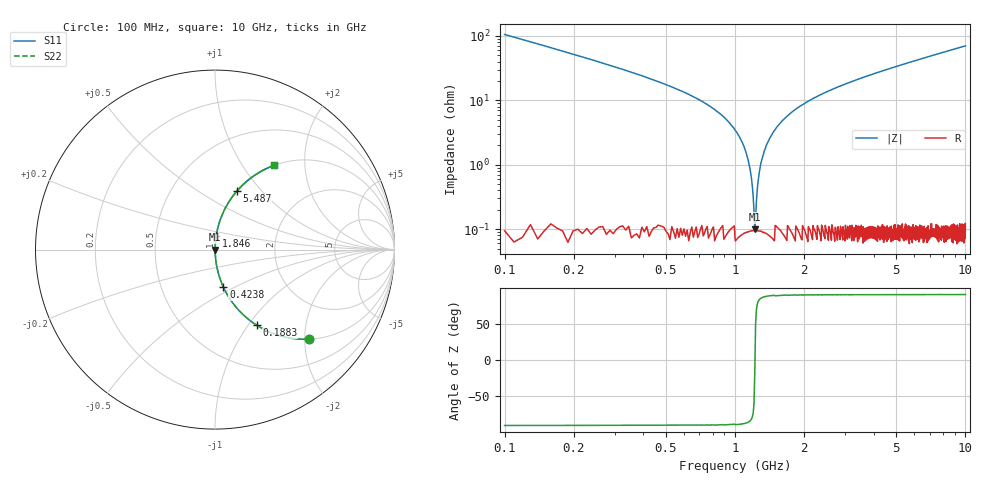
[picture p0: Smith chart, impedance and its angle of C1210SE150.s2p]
! AVX Thin Film Operation		Date: April 2012
! Description: Accu-P® Series, Thin Film, SMD, RF Capacitor
! Part Number: 12101J150FBTTR
!	100	MHz	-	10.05	GHz
!	Serial	Measurements
#	MHZ	S	MA	R	50
!	S11	S21	S12	S22
!	dB	Phase	dB	Phase	dB	Phase	dB	Phase
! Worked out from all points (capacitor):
!   1010 points, 100 MHz to 10 GHz, reference 50 ohm
!   read as one part in series: C = 15 pF near 149.1 MHz
!   lowest |Z| = 100 mohm at 1.219 GHz (marker M1)
!   series resonance near 1.221 GHz, so ESL is about 1.1 nH
!   S11 on the Smith chart (normalised r, x): 100 MHz: 1.00, -2.11; 188.3 MHz: 1.00, -1.10; 423.8 MHz: 1.00, -0.44; 1.846 GHz: 1.00, +0.15; 5.487 GHz: 1.00, +0.74; 10 GHz: 1.00, +1.40
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100  0.725 -43.5  0.688 46.5  0.688 46.5  0.725 -43.5
188.305  0.482 -61.1  0.876 28.8  0.876 28.8  0.482 -61.1
423.786  0.215 -77.4  0.976 12.4  0.976 12.4  0.215 -77.4
826.065  0.069 -85.3  0.997 4.0  0.997 4.0  0.069 -85.3
1002.676  0.034 -86.5  0.999 2.0  0.999 2.0  0.034 -86.5
1110.605  0.016 -85.9  0.999 0.9  0.999 0.9  0.016 -85.9
1149.851  0.01 -84.5  0.999 0.6  0.999 0.6  0.01 -84.5
1189.098  0.00465 -78.6  0.999 0.3  0.999 0.3  0.00465 -78.6
1218.533  0.000953 -19.2  0.999 0.0  0.999 0.0  0.000953 -19.2
1257.78  0.00527 79.9  0.999 -0.3  0.999 -0.3  0.00527 79.9
1326.462  0.014 85.6  0.999 -0.8  0.999 -0.8  0.014 85.6
1404.955  0.024 86.5  0.999 -1.4  0.999 -1.4  0.024 86.5
1561.943  0.043 86.3  0.998 -2.5  0.998 -2.5  0.043 86.3
1758.176  0.065 85.5  0.997 -3.7  0.997 -3.7  0.065 85.5
1846.482  0.074 85.1  0.996 -4.2  0.996 -4.2  0.074 85.1
2454.807  0.13 82.1  0.991 -7.5  0.991 -7.5  0.13 82.1
3406.541  0.207 77.8  0.978 -11.9  0.978 -11.9  0.207 77.8
5054.906  0.321 71.1  0.946 -18.7  0.946 -18.7  0.321 71.1
5486.62  0.348 69.5  0.937 -20.4  0.937 -20.4  0.348 69.5
6703.271  0.419 65.1  0.907 -24.8  0.907 -24.8  0.419 65.1
8351.635  0.503 59.7  0.864 -30.2  0.864 -30.2  0.503 59.7
10000  0.574 54.9  0.818 -35.0  0.818 -35.0  0.574 54.9
